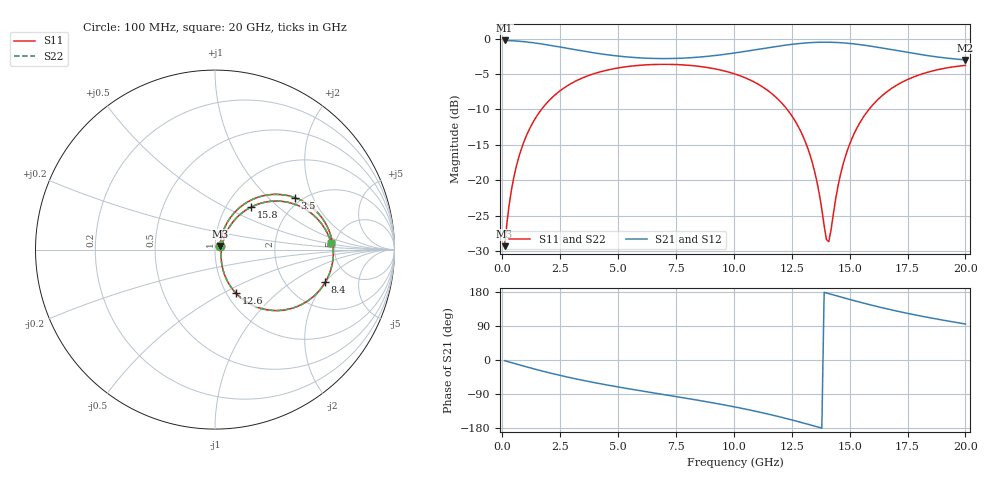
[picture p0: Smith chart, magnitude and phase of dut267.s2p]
! Touchstone file exported from HFSS 2026.1.0
!  File:  C:/ffzhzh/LocalFiles/Ansys_Project_Files/temp_train_TSV_RDL_267_1783084434_33488.aedt
!  Generated:  09:32:44 PM Jul  3, 2026
!  Design:  TSV_RDL
!  Project:  temp_train_TSV_RDL_267_1783084434_33488
! Variables:
!  h_bsmrdl = 5.54um
!  h_ox = 20um
!  h_rdl = 5um
!  h_sub = 90.68um
!  h_tmrdl = 5.17um
!  h_tsv = 90.68um
!  h_via = 3um
!  l_bsmrdl = 735.81um
!  l_sub = 4341.22um
!  l_tmrdl = 404.82um
!  m_sub = 200um
!  pitch = 55.81um
!  r_tsv = 2.62um
!  s_tmrdl = 10um
!  w_bsmrdl = 10.62um
!  w_sub = 500um
!  w_tmrdl = 27.55um
!  x_tsv_center1 = 418.595um
!  x_tsv_center2 = 1165.025um
!  x_tsv_center3 = 1597.395um
!  x_tsv_center4 = 2343.825um
!  x_tsv_center5 = 2776.195um
!  x_tsv_center6 = 3522.625um
# GHz S MA R 50.000000
! Terminal data exported
! Port[1] = TM_RDL1_1_T1
! Port[2] = TM_RDL5_1_T1
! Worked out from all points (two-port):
!   200 points, 100 MHz to 20 GHz, reference 50 ohm
!   highest |S21| = -0.24 dB at 100 MHz (marker M1); lowest = -3.0 dB at 20 GHz (marker M2)
!   |S21| within 3 dB of the highest: start of sweep to end of sweep
!   lowest |S11| = -29.3 dB at 100 MHz (marker M3), VSWR 1.07, Z = 52.8 + j2.12 ohm
!   |S11| at or under -10 dB: start of sweep to 1.689 GHz; 12.31 GHz to 15.83 GHz (3.528 GHz wide, 25.1 % of centre)
!   |S22| runs from -29.3 to -3.6 dB; largest |S21 - S12| = 2.2e-14
!   S11 on the Smith chart (normalised r, x): 100 MHz: 1.06, +0.04; 3.5 GHz: 1.84, +1.48; 8.4 GHz: 3.25, -2.00; 12.6 GHz: 1.11, -0.58; 15.8 GHz: 1.30, +0.68; 20 GHz: 4.61, +0.58
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0.1  0.03417 36.0  0.9728 -1.8  0.9728 -1.8  0.03417 36.0
! Gamma 0 0 0 0
! Port Impedance 50 0 50 0
0.3  0.06753 60.3  0.9703 -5.3  0.9703 -5.3  0.06753 60.3
0.5  0.1051 65.6  0.9666 -8.8  0.9666 -8.8  0.1051 65.6
1.1  0.2169 63.3  0.9475 -19.0  0.9475 -19.0  0.2169 63.3
2.1  0.3772 50.6  0.8967 -34.9  0.8967 -34.9  0.3772 50.6
3.5  0.5315 32.9  0.8174 -53.9  0.8174 -53.9  0.5315 32.9
5.1  0.6255 15.5  0.7516 -72.2  0.7516 -72.2  0.6255 15.5
6.8  0.6593 -1.1  0.7245 -89.5  0.7245 -89.5  0.6593 -1.1
8.4  0.6409 -16.5  0.7396 -105.6  0.7396 -105.6  0.6409 -16.5
10.1  0.5598 -34.3  0.7965 -124.6  0.7965 -124.6  0.5598 -34.3
11.5  0.4266 -50.9  0.8656 -143.0  0.8656 -143.0  0.4266 -50.9
12.6  0.2697 -64.3  0.9173 -159.7  0.9173 -159.7  0.2697 -64.3
13.4  0.1312 -68.9  0.9408 -172.9  0.9408 -172.9  0.1312 -68.9
13.7  0.07838 -62.4  0.9448 -178.1  0.9448 -178.1  0.07837 -62.4
14  0.03807 -23.3  0.9456 176.8  0.9456 176.8  0.03806 -23.3
14.1  0.03681 4.8  0.9452 175.1  0.9452 175.1  0.0368 4.8
14.5  0.09106 53.5  0.9402 168.2  0.9402 168.2  0.09106 53.5
14.8  0.1442 57.5  0.933 163.2  0.933 163.2  0.1442 57.5
15.8  0.3113 49.6  0.8922 147.0  0.8922 147.0  0.3113 49.6
16.7  0.4326 38.7  0.8439 133.7  0.8439 133.7  0.4326 38.7
18.4  0.5818 19.2  0.7587 112.2  0.7587 112.2  0.5818 19.2
20  0.6482 3.2  0.7095 95.0  0.7095 95.0  0.6482 3.2
